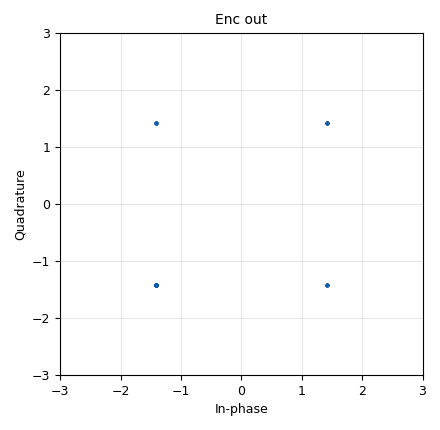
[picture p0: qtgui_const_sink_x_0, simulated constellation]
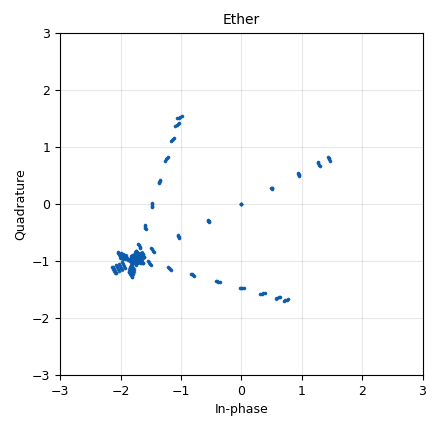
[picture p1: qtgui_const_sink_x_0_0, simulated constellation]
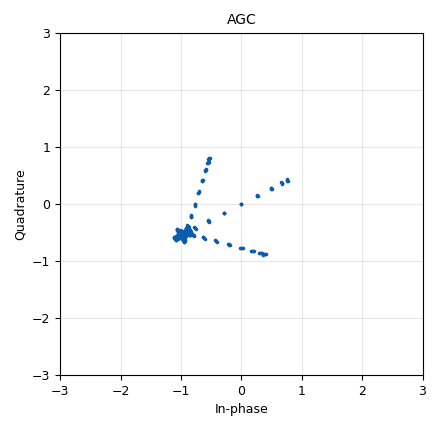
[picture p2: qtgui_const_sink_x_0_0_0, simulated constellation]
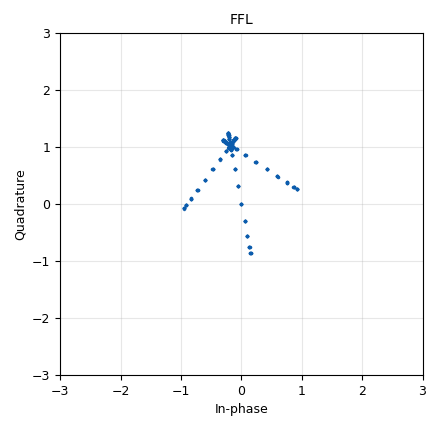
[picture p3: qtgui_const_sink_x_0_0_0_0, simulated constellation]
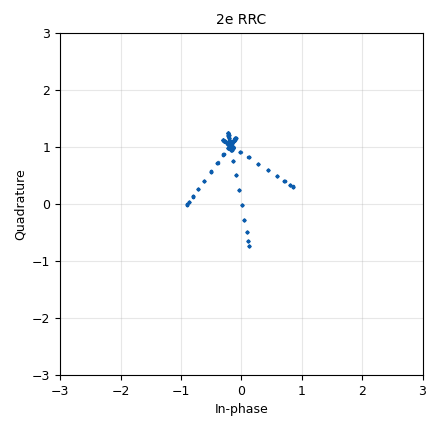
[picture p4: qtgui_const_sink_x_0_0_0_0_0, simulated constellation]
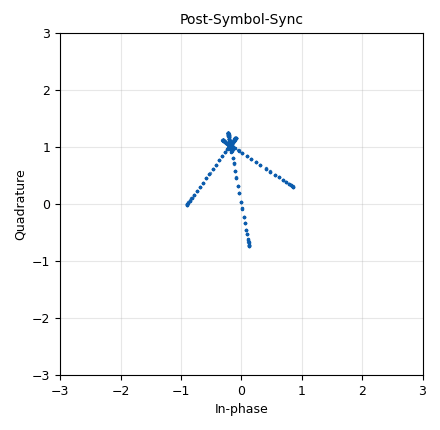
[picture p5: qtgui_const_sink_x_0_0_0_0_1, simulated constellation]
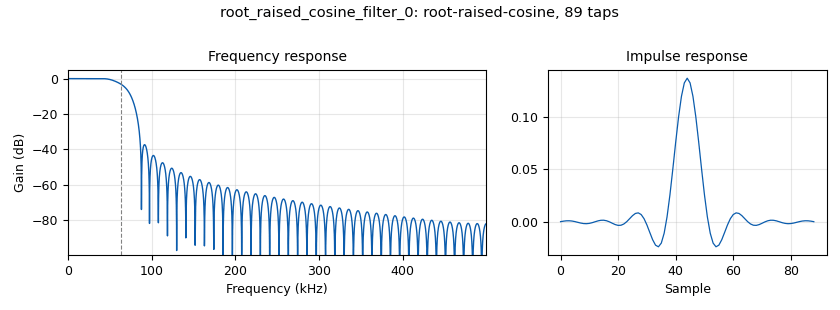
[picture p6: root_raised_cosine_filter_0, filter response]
options:
  parameters:
    author: sten
    generate_options: qt_gui
    id: Labo_10
    output_language: python
    title: Oefening 1
  states: {}

blocks:
- name: alpha
  id: variable
  parameters:
    value: '0.35'
  states: {}
- name: loopbw
  id: variable_qtgui_range
  parameters:
    gui_hint: (5,3)
    start: '0.001'
    step: '0.001'
    stop: '0.1'
    value: '0.001'
  states: {}
- name: loss
  id: variable_qtgui_range
  parameters:
    gui_hint: (2, 1)
    start: '0.001'
    step: '0.0000001'
    stop: '1'
    value: '1'
  states: {}
- name: noise
  id: variable_qtgui_range
  parameters:
    gui_hint: (2,3)
    start: '0'
    step: '0.000001'
    stop: '1'
    value: '0.0001'
  states: {}
- name: psk
  id: variable_constellation
  parameters:
    precision: '8'
    type: qpsk
  states: {}
- name: random
  id: variable_qtgui_check_box
  parameters:
    'false': '0'
    gui_hint: (2,0)
    label: Random ON/OFF
    'true': '1'
    type: int
    value: '0'
  states: {}
- name: samp_rate
  id: variable
  parameters:
    value: 1e6
  states: {}
- name: shift
  id: variable_qtgui_range
  parameters:
    gui_hint: (2,2)
    start: '-80e3'
    step: '0.1'
    stop: 80e3
    value: '9.8'
  states: {}
- name: sps
  id: variable
  parameters:
    value: '8'
  states: {}
- name: analog_agc_xx_0
  id: analog_agc_xx
  parameters:
    gain: '1.0'
    max_gain: '65536'
    rate: '1e-4'
    reference: '1.0'
    type: complex
  states: {}
- name: analog_random_source_x_0
  id: analog_random_source_x
  parameters:
    max: '4'
    min: '0'
    num_samps: '1000'
    repeat: 'True'
    type: byte
  states: {}
- name: analog_sig_source_x_0
  id: analog_sig_source_x
  parameters:
    amp: '1'
    freq: shift
    offset: '0'
    phase: '0'
    samp_rate: samp_rate
    type: complex
    waveform: analog.GR_COS_WAVE
  states: {}
- name: blocks_char_to_float_0
  id: blocks_char_to_float
  parameters:
    scale: '1'
  states: {}
- name: blocks_char_to_float_1
  id: blocks_char_to_float
  parameters:
    scale: '1'
  states: {}
- name: blocks_multiply_const_vxx_0
  id: blocks_multiply_const_vxx
  parameters:
    const: loss
    type: complex
  states: {}
- name: blocks_multiply_xx_0
  id: blocks_multiply_xx
  parameters:
    type: complex
  states: {}
- name: blocks_repeat_0
  id: blocks_repeat
  parameters:
    interp: sps
    type: byte
  states: {}
- name: blocks_selector_0
  id: blocks_selector
  parameters:
    enabled: 'True'
    input_index: random
    num_inputs: '2'
    num_outputs: '1'
    output_index: '0'
    type: byte
  states: {}
- name: blocks_throttle2_0
  id: blocks_throttle2
  parameters:
    samples_per_second: samp_rate
    type: complex
  states: {}
- name: blocks_vector_source_x_0
  id: blocks_vector_source_x
  parameters:
    repeat: 'True'
    type: byte
    vector: (1,0,0,0,0,0,0,0,2,0,0,0,0,0,0,0,3,0,0,0,0,0,0,0,0,0,0,0,0,0,0,0)
  states: {}
- name: channels_channel_model_0
  id: channels_channel_model
  parameters:
    epsilon: '1.0'
    freq_offset: '0.0'
    noise_voltage: noise
    seed: '0'
    taps: 1.0 + 0.0j
  states: {}
- name: digital_constellation_decoder_cb_0
  id: digital_constellation_decoder_cb
  parameters:
    constellation: psk
  states: {}
- name: digital_constellation_encoder_bc_0
  id: digital_constellation_encoder_bc
  parameters:
    constellation: psk
  states: {}
- name: digital_costas_loop_cc_0
  id: digital_costas_loop_cc
  parameters:
    order: '4'
    w: 2*3.14*(loopbw)
  states: {}
- name: digital_fll_band_edge_cc_0
  id: digital_fll_band_edge_cc
  parameters:
    filter_size: sps*2+1
    rolloff: alpha
    samps_per_sym: sps
    type: cc
    w: 2*3.1415/sps/100
  states: {}
- name: digital_symbol_sync_xx_0
  id: digital_symbol_sync_xx
  parameters:
    damping: '1.0'
    loop_bw: '0.045'
    max_dev: '0.5'
    osps: sps
    resamp_type: digital.IR_MMSE_8TAP
    sps: sps
    ted_gain: '1.0'
    ted_type: digital.TED_MUELLER_AND_MULLER
    type: cc
  states: {}
- name: digital_symbol_sync_xx_0_0
  id: digital_symbol_sync_xx
  parameters:
    damping: '1.0'
    loop_bw: '0.045'
    max_dev: '0.5'
    osps: '1'
    resamp_type: digital.IR_MMSE_8TAP
    sps: sps
    ted_gain: '1.0'
    ted_type: digital.TED_MUELLER_AND_MULLER
    type: cc
  states: {}
- name: qtgui_const_sink_x_0
  id: qtgui_const_sink_x
  parameters:
    gui_hint: (1, 0)
    legend: 'False'
    name: Enc out
    size: '1024'
    type: complex
    xmax: '3'
    xmin: '-3'
    ymax: '3'
    ymin: '-3'
  states: {}
- name: qtgui_const_sink_x_0_0
  id: qtgui_const_sink_x
  parameters:
    gui_hint: (1, 2)
    legend: 'False'
    name: Ether
    size: '1024'
    type: complex
    xmax: '3'
    xmin: '-3'
    ymax: '3'
    ymin: '-3'
  states: {}
- name: qtgui_const_sink_x_0_0_0
  id: qtgui_const_sink_x
  parameters:
    gui_hint: (1, 3)
    legend: 'False'
    name: AGC
    size: '1024'
    type: complex
    xmax: '3'
    xmin: '-3'
    ymax: '3'
    ymin: '-3'
  states: {}
- name: qtgui_const_sink_x_0_0_0_0
  id: qtgui_const_sink_x
  parameters:
    gui_hint: (1, 4)
    legend: 'False'
    name: FFL
    size: '1024'
    type: complex
    xmax: '3'
    xmin: '-3'
    ymax: '3'
    ymin: '-3'
  states: {}
- name: qtgui_const_sink_x_0_0_0_0_0
  id: qtgui_const_sink_x
  parameters:
    gui_hint: (4, 0)
    legend: 'False'
    name: 2e RRC
    size: '1024'
    type: complex
    xmax: '3'
    xmin: '-3'
    ymax: '3'
    ymin: '-3'
  states: {}
- name: qtgui_const_sink_x_0_0_0_0_1
  id: qtgui_const_sink_x
  parameters:
    gui_hint: (4,2)
    legend: 'False'
    name: Post-Symbol-Sync
    size: '1024'
    type: complex
    xmax: '3'
    xmin: '-3'
    ymax: '3'
    ymin: '-3'
  states: {}
- name: qtgui_const_sink_x_0_0_0_0_1_0
  id: qtgui_const_sink_x
  parameters:
    gui_hint: (4,4)
    legend: 'False'
    name: Costas out
    size: '1024'
    type: complex
    xmax: '3'
    xmin: '-3'
    ymax: '3'
    ymin: '-3'
  states: {}
- name: qtgui_const_sink_x_0_1
  id: qtgui_const_sink_x
  parameters:
    gui_hint: (1, 1)
    legend: 'False'
    name: 1e RRC
    size: '1024'
    type: complex
    xmax: '3'
    xmin: '-3'
    ymax: '3'
    ymin: '-3'
  states: {}
- name: qtgui_eye_sink_x_0
  id: qtgui_eye_sink_x
  parameters:
    gui_hint: (6,0,1,2)
    samp_per_symbol: sps
    size: '1024'
    srate: samp_rate
    type: complex
    ylabel: pre-Symbol-Sync
  states: {}
- name: qtgui_eye_sink_x_0_0
  id: qtgui_eye_sink_x
  parameters:
    gui_hint: (6,2,1,2)
    samp_per_symbol: int(sps/2)
    size: '1024'
    srate: samp_rate
    type: complex
    ylabel: pre-Symbol-Sync
  states: {}
- name: qtgui_freq_sink_x_0
  id: qtgui_freq_sink_x
  parameters:
    bw: samp_rate
    fc: '0'
    fftsize: '1024'
    gui_hint: (0,0)
    legend: 'False'
    type: complex
  states: {}
- name: qtgui_freq_sink_x_0_0
  id: qtgui_freq_sink_x
  parameters:
    bw: samp_rate
    fc: '0'
    fftsize: '1024'
    gui_hint: (0,1)
    legend: 'False'
    type: complex
  states: {}
- name: qtgui_freq_sink_x_0_0_0
  id: qtgui_freq_sink_x
  parameters:
    bw: samp_rate
    fc: '0'
    fftsize: '1024'
    gui_hint: (0,2)
    legend: 'False'
    type: complex
  states: {}
- name: qtgui_freq_sink_x_0_0_0_0
  id: qtgui_freq_sink_x
  parameters:
    bw: samp_rate
    fc: '0'
    fftsize: '1024'
    gui_hint: (0,3)
    legend: 'False'
    type: complex
  states: {}
- name: qtgui_freq_sink_x_0_0_0_0_0
  id: qtgui_freq_sink_x
  parameters:
    bw: samp_rate
    fc: '0'
    fftsize: '1024'
    gui_hint: (0,4)
    legend: 'False'
    type: complex
  states: {}
- name: qtgui_freq_sink_x_0_0_0_0_0_0
  id: qtgui_freq_sink_x
  parameters:
    bw: samp_rate
    fc: '0'
    fftsize: '1024'
    gui_hint: (3,0)
    legend: 'False'
    type: complex
  states: {}
- name: qtgui_freq_sink_x_0_0_0_0_0_1
  id: qtgui_freq_sink_x
  parameters:
    bw: samp_rate
    fc: '0'
    fftsize: '1024'
    gui_hint: (3,2)
    legend: 'False'
    type: complex
  states: {}
- name: qtgui_freq_sink_x_0_0_0_0_0_1_0
  id: qtgui_freq_sink_x
  parameters:
    bw: samp_rate
    fc: '0'
    fftsize: '1024'
    gui_hint: (3,4)
    legend: 'False'
    type: complex
  states: {}
- name: qtgui_time_sink_x_0
  id: qtgui_time_sink_x
  parameters:
    gui_hint: (8,0,1,2)
    name: Transmit data
    size: '1024'
    srate: samp_rate
    tr_level: '2.5'
    tr_mode: qtgui.TRIG_MODE_AUTO
    type: float
    ymax: '3.5'
    ymin: '-0.5'
  states: {}
- name: qtgui_time_sink_x_1
  id: qtgui_time_sink_x
  parameters:
    autoscale: 'True'
    gui_hint: (8,2,1,2)
    name: Received data
    size: '1024'
    srate: samp_rate
    type: float
  states: {}
- name: root_raised_cosine_filter_0
  id: root_raised_cosine_filter
  parameters:
    alpha: '0.35'
    decim: '1'
    gain: '1'
    ntaps: 11*sps
    samp_rate: samp_rate
    sym_rate: 125e3
    type: fir_filter_ccf
  states: {}
- name: root_raised_cosine_filter_0_0
  id: root_raised_cosine_filter
  parameters:
    alpha: '0.35'
    decim: '1'
    gain: '1'
    ntaps: 11*sps
    samp_rate: samp_rate
    sym_rate: 125e3
    type: fir_filter_ccf
  states: {}
- name: virtual_sink_0
  id: virtual_sink
  parameters:
    stream_id: filter_output
  states: {}
- name: virtual_sink_1
  id: virtual_sink
  parameters:
    stream_id: recovery
  states: {}
- name: virtual_source_0
  id: virtual_source
  parameters:
    stream_id: filter_output
  states: {}
- name: virtual_source_1
  id: virtual_source
  parameters:
    stream_id: recovery
  states: {}

connections:
- [analog_agc_xx_0, '0', digital_fll_band_edge_cc_0, '0']
- [analog_agc_xx_0, '0', qtgui_const_sink_x_0_0_0, '0']
- [analog_agc_xx_0, '0', qtgui_freq_sink_x_0_0_0_0, '0']
- [analog_random_source_x_0, '0', blocks_selector_0, '1']
- [analog_sig_source_x_0, '0', blocks_multiply_xx_0, '0']
- [blocks_char_to_float_0, '0', qtgui_time_sink_x_0, '0']
- [blocks_char_to_float_1, '0', qtgui_time_sink_x_1, '0']
- [blocks_multiply_const_vxx_0, '0', channels_channel_model_0, '0']
- [blocks_multiply_xx_0, '0', blocks_multiply_const_vxx_0, '0']
- [blocks_repeat_0, '0', blocks_char_to_float_0, '0']
- [blocks_repeat_0, '0', digital_constellation_encoder_bc_0, '0']
- [blocks_selector_0, '0', blocks_repeat_0, '0']
- [blocks_throttle2_0, '0', qtgui_const_sink_x_0, '0']
- [blocks_throttle2_0, '0', qtgui_freq_sink_x_0, '0']
- [blocks_throttle2_0, '0', root_raised_cosine_filter_0, '0']
- [blocks_vector_source_x_0, '0', blocks_selector_0, '0']
- [channels_channel_model_0, '0', qtgui_const_sink_x_0_0, '0']
- [channels_channel_model_0, '0', qtgui_freq_sink_x_0_0_0, '0']
- [channels_channel_model_0, '0', virtual_sink_1, '0']
- [digital_constellation_decoder_cb_0, '0', blocks_char_to_float_1, '0']
- [digital_constellation_encoder_bc_0, '0', blocks_throttle2_0, '0']
- [digital_costas_loop_cc_0, '0', digital_constellation_decoder_cb_0, '0']
- [digital_costas_loop_cc_0, '0', qtgui_const_sink_x_0_0_0_0_1_0, '0']
- [digital_costas_loop_cc_0, '0', qtgui_freq_sink_x_0_0_0_0_0_1_0, '0']
- [digital_fll_band_edge_cc_0, '0', qtgui_const_sink_x_0_0_0_0, '0']
- [digital_fll_band_edge_cc_0, '0', qtgui_freq_sink_x_0_0_0_0_0, '0']
- [digital_fll_band_edge_cc_0, '0', root_raised_cosine_filter_0_0, '0']
- [digital_symbol_sync_xx_0, '0', digital_costas_loop_cc_0, '0']
- [digital_symbol_sync_xx_0, '0', qtgui_const_sink_x_0_0_0_0_1, '0']
- [digital_symbol_sync_xx_0, '0', qtgui_freq_sink_x_0_0_0_0_0_1, '0']
- [digital_symbol_sync_xx_0_0, '0', qtgui_eye_sink_x_0_0, '0']
- [root_raised_cosine_filter_0, '0', qtgui_const_sink_x_0_1, '0']
- [root_raised_cosine_filter_0, '0', qtgui_freq_sink_x_0_0, '0']
- [root_raised_cosine_filter_0, '0', virtual_sink_0, '0']
- [root_raised_cosine_filter_0_0, '0', digital_symbol_sync_xx_0, '0']
- [root_raised_cosine_filter_0_0, '0', digital_symbol_sync_xx_0_0, '0']
- [root_raised_cosine_filter_0_0, '0', qtgui_const_sink_x_0_0_0_0_0, '0']
- [root_raised_cosine_filter_0_0, '0', qtgui_eye_sink_x_0, '0']
- [root_raised_cosine_filter_0_0, '0', qtgui_freq_sink_x_0_0_0_0_0_0, '0']
- [virtual_source_0, '0', blocks_multiply_xx_0, '1']
- [virtual_source_1, '0', analog_agc_xx_0, '0']

metadata:
  file_format: 1
  grc_version: 3.10.7.0
